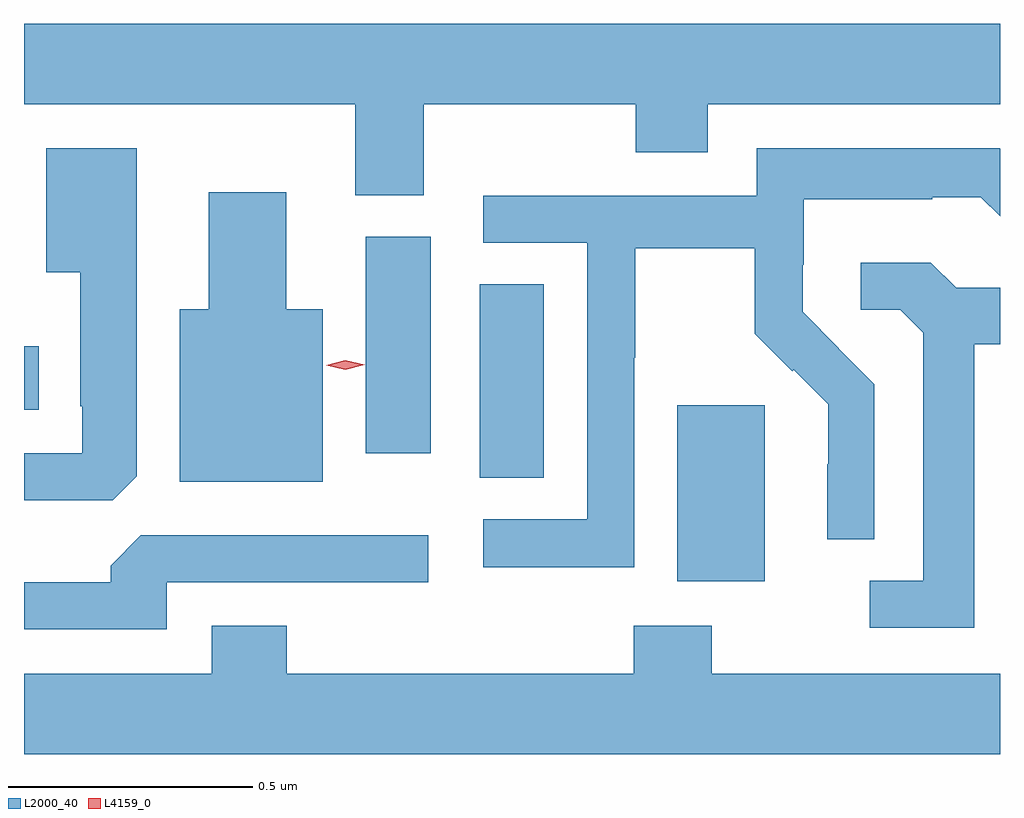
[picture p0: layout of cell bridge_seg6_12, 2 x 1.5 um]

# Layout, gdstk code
import gdstk
lib = gdstk.Library(unit=1e-6, precision=1e-09)
def R(c, l, rs):  # rectangles x0, y0, x1, y1
    for r in rs: c.add(gdstk.rectangle(r[:2], r[2:], *l))
def P(c, l, *ps):  # polygons
    for p in ps: c.add(gdstk.Polygon(p, *l))
L2000_40 = (2000, 40)
L4159_0 = (4159, 0)

bridge_seg6_12 = lib.new_cell('bridge_seg6_12')
R(bridge_seg6_12, L2000_40, [(973.625,950.354,973.804,950.715), (973.22,950.566,973.351,950.963), (972.986,950.616,973.12,951.06), (972.286,950.705,972.316,950.836)])
P(bridge_seg6_12, L2000_40, [(973.105,951.332),(973.54,951.332),(973.54,951.233),(973.687,951.233),(973.687,951.332),(974.286,951.332),(974.286,951.496),(972.286,951.496),(972.286,951.332),(972.965,951.332),(972.965,951.145),(973.105,951.145)],
  [(973.536,950.812),(973.539,950.812),(973.539,951.036),(973.783,951.036),(973.783,950.861),(973.86,950.784),(973.863,950.787),(973.934,950.717),(973.934,950.594),(973.932,950.594),(973.932,950.44),(974.028,950.44),(974.028,950.758),(973.955,950.831),(973.956,950.832),(973.882,950.906),(973.882,951.003),(973.884,951.003),(973.884,951.137),(974.147,951.137),(974.147,951.141),(974.247,951.141),(974.286,951.102),(974.286,951.24),(974.285,951.241),(973.788,951.241),(973.788,951.144),(973.227,951.144),(973.227,951.048),(973.44,951.048),(973.44,950.481),(973.227,950.481),(973.227,950.383),(973.536,950.383)],
  [(972.517,950.569),(972.517,951.241),(972.332,951.241),(972.332,950.987),(972.401,950.987),(972.401,950.713),(972.405,950.713),(972.405,950.616),(972.286,950.616),(972.286,950.52),(972.468,950.52)],
  [(972.898,950.911),(972.823,950.911),(972.823,951.151),(972.665,951.151),(972.665,950.911),(972.605,950.911),(972.605,950.558),(972.898,950.558)],
  [(974.233,950.84),(974.286,950.84),(974.286,950.955),(974.196,950.955),(974.144,951.007),(974.001,951.007),(974.001,950.91),(974.082,950.91),(974.129,950.863),(974.129,950.355),(974.019,950.355),(974.019,950.259),(974.233,950.259)],
  [(972.579,950.352),(973.114,950.352),(973.114,950.448),(972.525,950.448),(972.464,950.386),(972.464,950.352),(972.286,950.352),(972.286,950.256),(972.579,950.256)],
  [(974.286,950.164),(973.695,950.164),(973.695,950.263),(973.535,950.263),(973.535,950.164),(972.824,950.164),(972.824,950.263),(972.671,950.263),(972.671,950.164),(972.286,950.164),(972.286,950),(974.286,950)])
P(bridge_seg6_12, L4159_0, [(972.944,950.787),(972.905,950.797),(972.905,950.797),(972.905,950.797),(972.944,950.807),(972.984,950.798),(972.984,950.798),(972.984,950.798)])

lib.write_gds('bridge_seg6_12.gds')
